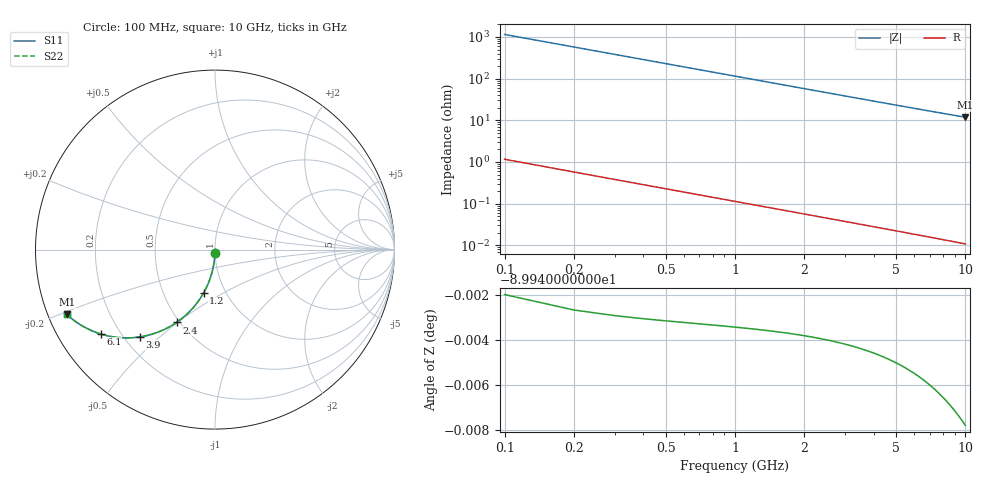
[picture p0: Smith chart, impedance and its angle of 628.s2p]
# Hz S RI R 50.00
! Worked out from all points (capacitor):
!   100 points, 100 MHz to 10 GHz, reference 50 ohm
!   read as one part in shunt: C = 1.39 pF near 100 MHz
!   lowest |Z| = 11.9 ohm at 10 GHz (marker M1)
!   S11 on the Smith chart (normalised r, x): 100 MHz: 1.00, -0.04; 1.2 GHz: 0.79, -0.41; 2.4 GHz: 0.48, -0.50; 3.9 GHz: 0.26, -0.43; 6.1 GHz: 0.13, -0.32; 10 GHz: 0.05, -0.21
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1e8  -0.000462 -0.0216  0.9995 -0.0219  0.9995 -0.0219  -0.000462 -0.0216
2e8  -0.0019 -0.0431  0.998 -0.0438  0.998 -0.0438  -0.0019 -0.0431
3e8  -0.00428 -0.0645  0.9957 -0.0655  0.9957 -0.0655  -0.00428 -0.0645
4e8  -0.00757 -0.0857  0.9924 -0.087  0.9924 -0.087  -0.00757 -0.0857
5e8  -0.0118 -0.1067  0.9882 -0.1083  0.9882 -0.1083  -0.0118 -0.1067
6e8  -0.0169 -0.1274  0.9831 -0.1293  0.9831 -0.1293  -0.0169 -0.1274
7e8  -0.0228 -0.1477  0.9771 -0.15  0.9771 -0.15  -0.0228 -0.1477
9e8  -0.0371 -0.1871  0.9628 -0.19  0.9628 -0.19  -0.0371 -0.1871
1.2e9  -0.064 -0.2424  0.9359 -0.2463  0.9359 -0.2463  -0.064 -0.2424
1.5e9  -0.0965 -0.2923  0.9034 -0.2973  0.9034 -0.2973  -0.0965 -0.2923
1.8e9  -0.1332 -0.3364  0.8667 -0.3423  0.8667 -0.3423  -0.1332 -0.3364
2.1e9  -0.1729 -0.3742  0.827 -0.3812  0.827 -0.3812  -0.1729 -0.3742
2.4e9  -0.2144 -0.406  0.7855 -0.4139  0.7855 -0.4139  -0.2144 -0.406
2.9e9  -0.2848 -0.446  0.7151 -0.4557  0.7151 -0.4557  -0.2848 -0.446
3.4e9  -0.3537 -0.472  0.6462 -0.4833  0.6462 -0.4833  -0.3537 -0.472
3.9e9  -0.4185 -0.4863  0.5813 -0.4993  0.5813 -0.4993  -0.4185 -0.4863
5.1e9  -0.5517 -0.4882  0.448 -0.5054  0.448 -0.5054  -0.5517 -0.4882
6.1e9  -0.6379 -0.4697  0.3618 -0.4904  0.3618 -0.4904  -0.6379 -0.4697
6.7e9  -0.6802 -0.4545  0.3195 -0.4772  0.3195 -0.4772  -0.6802 -0.4545
7.5e9  -0.7273 -0.4319  0.2723 -0.4575  0.2723 -0.4575  -0.7273 -0.4319
8.4e9  -0.7702 -0.4057  0.2293 -0.4344  0.2293 -0.4344  -0.7702 -0.4057
1e10  -0.8266 -0.3605  0.1728 -0.3951  0.1728 -0.3951  -0.8266 -0.3605
